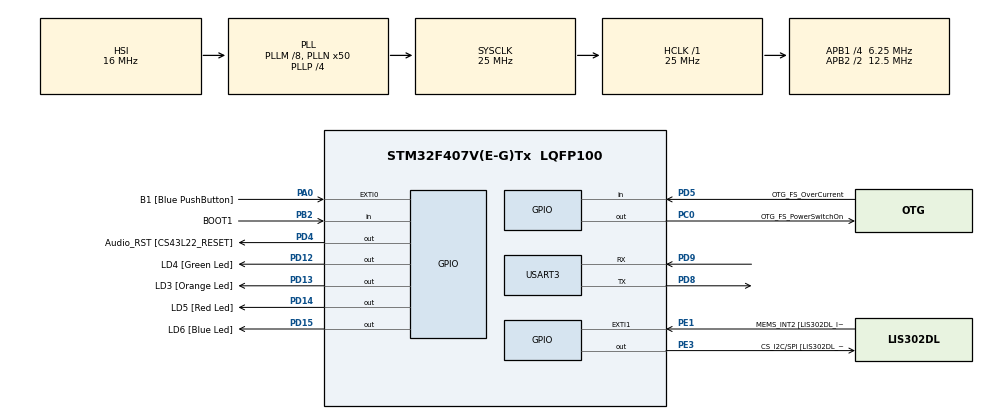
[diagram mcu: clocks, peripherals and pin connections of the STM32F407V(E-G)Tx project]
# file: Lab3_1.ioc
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FREERTOS.BinarySemaphores01=binarySemLED,Dynamic,NULL,Available
FREERTOS.CountingSemaphores01=CountingSemLed,16,Dynamic,NULL,0
FREERTOS.Mutexes01=LedMutex,Dynamic,NULL,Available
FREERTOS.Queues01=queueLED,16,uint16_t,0,Dynamic,NULL,NULL
FREERTOS.Tasks01=defaultTask,24,128,StartDefaultTask,Default,NULL,Dynamic,NULL,NULL;threadLED,8,128,StartTask02,Default,NULL,Dynamic,NULL,NULL
FREERTOS.configUSE_NEWLIB_REENTRANT=1
Mcu.Family=STM32F4
Mcu.Name=STM32F407V(E-G)Tx
Mcu.Package=LQFP100
NVIC.EXTI0_IRQn=true\:5\:0\:false\:false\:true\:true\:true\:true\:true
NVIC.PriorityGroup=NVIC_PRIORITYGROUP_4
NVIC.TIM1_UP_TIM10_IRQn=true\:15\:0\:false\:false\:true\:false\:false\:true\:true
NVIC.TimeBase=TIM1_UP_TIM10_IRQn
NVIC.TimeBaseIP=TIM1
PA0-WKUP.GPIO_Label=B1 [Blue PushButton]
PA0-WKUP.GPIO_ModeDefaultEXTI=GPIO_MODE_IT_FALLING
PA0-WKUP.Signal=GPXTI0
PA10.GPIO_Label=OTG_FS_ID
PA10.GPIO_Mode=GPIO_MODE_AF_PP
PA10.GPIO_PuPd=GPIO_NOPULL
PA10.GPIO_Speed=GPIO_SPEED_FREQ_LOW
PA10.Signal=USB_OTG_FS_ID
PA11.GPIO_Label=OTG_FS_DM
PA11.GPIO_Mode=GPIO_MODE_AF_PP
PA11.GPIO_PuPd=GPIO_NOPULL
PA11.GPIO_Speed=GPIO_SPEED_FREQ_LOW
PA11.Signal=USB_OTG_FS_DM
PA12.GPIO_Label=OTG_FS_DP
PA12.GPIO_Mode=GPIO_MODE_AF_PP
PA12.GPIO_PuPd=GPIO_NOPULL
PA12.GPIO_Speed=GPIO_SPEED_FREQ_LOW
PA12.Signal=USB_OTG_FS_DP
PA13.GPIO_Label=SWDIO
PA13.Signal=SYS_JTMS-SWDIO
PA14.GPIO_Label=SWCLK
PA14.Signal=SYS_JTCK-SWCLK
PA4.GPIO_Label=I2S3_WS [CS43L22_LRCK]
PA4.GPIO_Mode=GPIO_MODE_AF_PP
PA4.GPIO_PuPd=GPIO_NOPULL
PA4.GPIO_Speed=GPIO_SPEED_FREQ_LOW
PA4.Signal=I2S3_WS
PA5.GPIO_Label=SPI1_SCK [LIS302DL_SCL/SPC]
PA5.GPIO_Mode=GPIO_MODE_AF_PP
PA5.GPIO_PuPd=GPIO_NOPULL
PA5.GPIO_Speed=GPIO_SPEED_FREQ_LOW
PA5.Signal=SPI1_SCK
PA6.GPIO_Label=SPI1_MISO [LIS302DL_SDO]
PA6.GPIO_Mode=GPIO_MODE_AF_PP
PA6.GPIO_PuPd=GPIO_NOPULL
PA6.GPIO_Speed=GPIO_SPEED_FREQ_LOW
PA6.Signal=SPI1_MISO
PA7.GPIO_Label=SPI1_MOSI [LIS302DL_SDA/SDI/SDO]
PA7.GPIO_Mode=GPIO_MODE_AF_PP
PA7.GPIO_PuPd=GPIO_NOPULL
PA7.GPIO_Speed=GPIO_SPEED_FREQ_LOW
PA7.Signal=SPI1_MOSI
PA9.GPIO_Label=VBUS_FS
PA9.GPIO_Mode=GPIO_MODE_INPUT
PA9.GPIO_PuPd=GPIO_NOPULL
PA9.Signal=USB_OTG_FS_VBUS
PB10.GPIO_Label=CLK_IN [MP45DT02_CLK]
PB10.GPIO_Mode=GPIO_MODE_AF_PP
PB10.GPIO_PuPd=GPIO_NOPULL
PB10.GPIO_Speed=GPIO_SPEED_FREQ_LOW
PB10.Signal=I2S2_CK
PB2.GPIO_Label=BOOT1
PB2.GPIO_Mode=GPIO_MODE_INPUT
PB2.GPIO_PuPd=GPIO_NOPULL
PB2.Signal=GPIO_Input
PB3.GPIO_Label=SWO
PB3.Signal=SYS_JTDO-SWO
PB6.GPIO_Label=Audio_SCL [CS43L22_SCL]
PB6.GPIO_Mode=GPIO_MODE_AF_OD
PB6.GPIO_PuPd=GPIO_NOPULL
PB6.GPIO_Speed=GPIO_SPEED_FREQ_LOW
PB6.Signal=I2C1_SCL
PB9.GPIO_Label=Audio_SDA [CS43L22_SDA]
PB9.GPIO_Mode=GPIO_MODE_AF_OD
PB9.GPIO_PuPd=GPIO_NOPULL
PB9.GPIO_Speed=GPIO_SPEED_FREQ_LOW
PB9.Signal=I2C1_SDA
PC0.GPIO_Label=OTG_FS_PowerSwitchOn
PC0.GPIO_PuPd=GPIO_NOPULL
PC0.GPIO_Speed=GPIO_SPEED_FREQ_LOW
PC0.PinState=GPIO_PIN_SET
PC0.Signal=GPIO_Output
PC10.GPIO_Label=I2S3_SCK [CS43L22_SCLK]
PC10.GPIO_Mode=GPIO_MODE_AF_PP
PC10.GPIO_PuPd=GPIO_NOPULL
PC10.GPIO_Speed=GPIO_SPEED_FREQ_LOW
PC10.Signal=I2S3_CK
PC12.GPIO_Label=I2S3_SD [CS43L22_SDIN]
PC12.GPIO_Mode=GPIO_MODE_AF_PP
PC12.GPIO_PuPd=GPIO_NOPULL
PC12.GPIO_Speed=GPIO_SPEED_FREQ_LOW
PC12.Signal=I2S3_SD
PC14-OSC32_IN.GPIO_Label=PC14-OSC32_IN
PC14-OSC32_IN.Signal=RCC_OSC32_IN
PC15-OSC32_OUT.GPIO_Label=PC15-OSC32_OUT
PC15-OSC32_OUT.Signal=RCC_OSC32_OUT
PC3.GPIO_Label=PDM_OUT [MP45DT02_DOUT]
PC3.GPIO_Mode=GPIO_MODE_AF_PP
PC3.GPIO_PuPd=GPIO_NOPULL
PC3.GPIO_Speed=GPIO_SPEED_FREQ_LOW
PC3.Signal=I2S2_SD
PC7.GPIO_Label=I2S3_MCK [CS43L22_MCLK]
PC7.GPIO_Mode=GPIO_MODE_AF_PP
PC7.GPIO_PuPd=GPIO_NOPULL
PC7.GPIO_Speed=GPIO_SPEED_FREQ_LOW
PC7.Signal=I2S3_MCK
PD12.GPIO_Label=LD4 [Green Led]
PD12.GPIO_PuPd=GPIO_NOPULL
PD12.GPIO_Speed=GPIO_SPEED_FREQ_LOW
PD12.Signal=GPIO_Output
PD13.GPIO_Label=LD3 [Orange Led]
PD13.GPIO_PuPd=GPIO_NOPULL
PD13.GPIO_Speed=GPIO_SPEED_FREQ_LOW
PD13.Signal=GPIO_Output
PD14.GPIO_Label=LD5 [Red Led]
PD14.GPIO_PuPd=GPIO_NOPULL
PD14.GPIO_Speed=GPIO_SPEED_FREQ_LOW
PD14.Signal=GPIO_Output
PD15.GPIO_Label=LD6 [Blue Led]
PD15.GPIO_PuPd=GPIO_NOPULL
PD15.GPIO_Speed=GPIO_SPEED_FREQ_LOW
PD15.Signal=GPIO_Output
PD4.GPIO_Label=Audio_RST [CS43L22_RESET]
PD4.GPIO_PuPd=GPIO_NOPULL
PD4.GPIO_Speed=GPIO_SPEED_FREQ_LOW
PD4.Signal=GPIO_Output
PD5.GPIO_Label=OTG_FS_OverCurrent
PD5.GPIO_Mode=GPIO_MODE_INPUT
PD5.GPIO_PuPd=GPIO_NOPULL
PD5.Signal=GPIO_Input
PD8.Mode=Asynchronous
PD8.Signal=USART3_TX
PD9.Mode=Asynchronous
PD9.Signal=USART3_RX
PE1.GPIO_Label=MEMS_INT2 [LIS302DL_INT2]
PE1.GPIO_ModeDefaultEXTI=GPIO_MODE_EVT_RISING
PE1.GPIO_PuPd=GPIO_NOPULL
PE1.Signal=GPXTI1
PE3.GPIO_Label=CS_I2C/SPI [LIS302DL_CS_I2C/SPI]
PE3.GPIO_PuPd=GPIO_NOPULL
PE3.GPIO_Speed=GPIO_SPEED_FREQ_LOW
PE3.Signal=GPIO_Output
PH0-OSC_IN.GPIO_Label=PH0-OSC_IN
PH0-OSC_IN.Signal=RCC_OSC_IN
PH1-OSC_OUT.GPIO_Label=PH1-OSC_OUT
PH1-OSC_OUT.Signal=RCC_OSC_OUT
ProjectManager.HeapSize=0x200
ProjectManager.StackSize=0x400
ProjectManager.TargetToolchain=STM32CubeIDE
RCC.48MHZClocksFreq_Value=14285714.285714285
RCC.AHBFreq_Value=25000000
RCC.APB1CLKDivider=RCC_HCLK_DIV4
RCC.APB1Freq_Value=6250000
RCC.APB1TimFreq_Value=12500000
RCC.APB2CLKDivider=RCC_HCLK_DIV2
RCC.APB2Freq_Value=12500000
RCC.APB2TimFreq_Value=25000000
RCC.CortexFreq_Value=25000000
RCC.HCLKFreq_Value=25000000
RCC.HSE_VALUE=8000000
RCC.HSI_VALUE=16000000
RCC.LSE_VALUE=32768
RCC.PLLM=8
RCC.PLLN=50
RCC.PLLP=RCC_PLLP_DIV4
RCC.PLLQ=7
RCC.SYSCLKFreq_VALUE=25000000
RCC.SYSCLKSource=RCC_SYSCLKSOURCE_PLLCLK
RCC.VCOOutputFreq_Value=100000000
USART3.VirtualMode=VM_ASYNC
VP_FREERTOS_VS_CMSIS_V2.Mode=CMSIS_V2
VP_SYS_VS_tim1.Mode=TIM1
board=STM32F407G-DISC1

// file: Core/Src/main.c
/* USER CODE BEGIN Header */
/**
  ******************************************************************************
  * @file           : main.c
  * @brief          : Main program body
  ******************************************************************************
  * @attention
  *
  * Copyright (c) 2025 STMicroelectronics.
  * All rights reserved.
  *
  * This software is licensed under terms that can be found in the LICENSE file
  * in the root directory of this software component.
  * If no LICENSE file comes with this software, it is provided AS-IS.
  *
  ******************************************************************************
  */
/* USER CODE END Header */
#include "main.h"
#include "cmsis_os.h"

UART_HandleTypeDef huart3;

/* Definitions for defaultTask */
osThreadId_t defaultTaskHandle;
const osThreadAttr_t defaultTask_attributes = {
  .name = "defaultTask",
  .stack_size = 128 * 4,
  .priority = (osPriority_t) osPriorityNormal,
};
/* Definitions for threadLED */
osThreadId_t threadLEDHandle;
const osThreadAttr_t threadLED_attributes = {
  .name = "threadLED",
  .stack_size = 128 * 4,
  .priority = (osPriority_t) osPriorityLow,
};
/* Definitions for queueLED */
osMessageQueueId_t queueLEDHandle;
const osMessageQueueAttr_t queueLED_attributes = {
  .name = "queueLED"
};
/* Definitions for LedMutex */
osMutexId_t LedMutexHandle;
const osMutexAttr_t LedMutex_attributes = {
  .name = "LedMutex"
};
/* Definitions for binarySemLED */
osSemaphoreId_t binarySemLEDHandle;
const osSemaphoreAttr_t binarySemLED_attributes = {
  .name = "binarySemLED"
};
/* Definitions for CountingSemLed */
osSemaphoreId_t CountingSemLedHandle;
const osSemaphoreAttr_t CountingSemLed_attributes = {
  .name = "CountingSemLed"
};
/* USER CODE BEGIN PV */
uint32_t currentClick = 0;
uint32_t prevClick = 0;
/* USER CODE END PV */

void SystemClock_Config(void);
static void MX_GPIO_Init(void);
static void MX_USART3_UART_Init(void);
void StartDefaultTask(void *argument);
void StartTask02(void *argument);

int main(void)
{

  /* MCU Configuration--------------------------------------------------------*/

  /* Reset of all peripherals, Initializes the Flash interface and the Systick. */
  HAL_Init();

  /* Configure the system clock */
  SystemClock_Config();

  /* Initialize all configured peripherals */
  MX_GPIO_Init();
  MX_USART3_UART_Init();

  /* Init scheduler */
  osKernelInitialize();
  /* Create the mutex(es) */
  /* creation of LedMutex */
  LedMutexHandle = osMutexNew(&LedMutex_attributes);

  /* Create the semaphores(s) */
  /* creation of binarySemLED */
  binarySemLEDHandle = osSemaphoreNew(1, 1, &binarySemLED_attributes);

  /* creation of CountingSemLed */
  CountingSemLedHandle = osSemaphoreNew(16, 0, &CountingSemLed_attributes);

  /* Create the queue(s) */
  /* creation of queueLED */
  queueLEDHandle = osMessageQueueNew (16, sizeof(uint16_t), &queueLED_attributes);

  /* Create the thread(s) */
  /* creation of defaultTask */
  defaultTaskHandle = osThreadNew(StartDefaultTask, NULL, &defaultTask_attributes);

  /* creation of threadLED */
  threadLEDHandle = osThreadNew(StartTask02, NULL, &threadLED_attributes);

  /* Start scheduler */
  osKernelStart();

  /* We should never get here as control is now taken by the scheduler */

  /* Infinite loop */
  while (1)
  {

  }
}

void SystemClock_Config(void)
{
  RCC_OscInitTypeDef RCC_OscInitStruct = {0};
  RCC_ClkInitTypeDef RCC_ClkInitStruct = {0};

  /** Configure the main internal regulator output voltage
  */
  __HAL_RCC_PWR_CLK_ENABLE();
  __HAL_PWR_VOLTAGESCALING_CONFIG(PWR_REGULATOR_VOLTAGE_SCALE1);

  /** Initializes the RCC Oscillators according to the specified parameters
  * in the RCC_OscInitTypeDef structure.
  */
  RCC_OscInitStruct.OscillatorType = RCC_OSCILLATORTYPE_HSI;
  RCC_OscInitStruct.HSIState = RCC_HSI_ON;
  RCC_OscInitStruct.HSICalibrationValue = RCC_HSICALIBRATION_DEFAULT;
  RCC_OscInitStruct.PLL.PLLState = RCC_PLL_ON;
  RCC_OscInitStruct.PLL.PLLSource = RCC_PLLSOURCE_HSI;
  RCC_OscInitStruct.PLL.PLLM = 8;
  RCC_OscInitStruct.PLL.PLLN = 50;
  RCC_OscInitStruct.PLL.PLLP = RCC_PLLP_DIV4;
  RCC_OscInitStruct.PLL.PLLQ = 7;
  if (HAL_RCC_OscConfig(&RCC_OscInitStruct) != HAL_OK)
  {
    Error_Handler();
  }

  /** Initializes the CPU, AHB and APB buses clocks
  */
  RCC_ClkInitStruct.ClockType = RCC_CLOCKTYPE_HCLK|RCC_CLOCKTYPE_SYSCLK
                              |RCC_CLOCKTYPE_PCLK1|RCC_CLOCKTYPE_PCLK2;
  RCC_ClkInitStruct.SYSCLKSource = RCC_SYSCLKSOURCE_PLLCLK;
  RCC_ClkInitStruct.AHBCLKDivider = RCC_SYSCLK_DIV1;
  RCC_ClkInitStruct.APB1CLKDivider = RCC_HCLK_DIV4;
  RCC_ClkInitStruct.APB2CLKDivider = RCC_HCLK_DIV2;

  if (HAL_RCC_ClockConfig(&RCC_ClkInitStruct, FLASH_LATENCY_0) != HAL_OK)
  {
    Error_Handler();
  }
}

static void MX_USART3_UART_Init(void)
{

  huart3.Instance = USART3;
  huart3.Init.BaudRate = 115200;
  huart3.Init.WordLength = UART_WORDLENGTH_8B;
  huart3.Init.StopBits = UART_STOPBITS_1;
  huart3.Init.Parity = UART_PARITY_NONE;
  huart3.Init.Mode = UART_MODE_TX_RX;
  huart3.Init.HwFlowCtl = UART_HWCONTROL_NONE;
  huart3.Init.OverSampling = UART_OVERSAMPLING_16;
  if (HAL_UART_Init(&huart3) != HAL_OK)
  {
    Error_Handler();
  }

}

static void MX_GPIO_Init(void)
{
  GPIO_InitTypeDef GPIO_InitStruct = {0};

  /* GPIO Ports Clock Enable */
  __HAL_RCC_GPIOE_CLK_ENABLE();
  __HAL_RCC_GPIOC_CLK_ENABLE();
  __HAL_RCC_GPIOH_CLK_ENABLE();
  __HAL_RCC_GPIOA_CLK_ENABLE();
  __HAL_RCC_GPIOB_CLK_ENABLE();
  __HAL_RCC_GPIOD_CLK_ENABLE();

  /*Configure GPIO pin Output Level */
  HAL_GPIO_WritePin(CS_I2C_SPI_GPIO_Port, CS_I2C_SPI_Pin, GPIO_PIN_RESET);

  /*Configure GPIO pin Output Level */
  HAL_GPIO_WritePin(OTG_FS_PowerSwitchOn_GPIO_Port, OTG_FS_PowerSwitchOn_Pin, GPIO_PIN_SET);

  /*Configure GPIO pin Output Level */
  HAL_GPIO_WritePin(GPIOD, LD4_Pin|LD3_Pin|LD5_Pin|LD6_Pin
                          |Audio_RST_Pin, GPIO_PIN_RESET);

  /*Configure GPIO pin : CS_I2C_SPI_Pin */
  GPIO_InitStruct.Pin = CS_I2C_SPI_Pin;
  GPIO_InitStruct.Mode = GPIO_MODE_OUTPUT_PP;
  GPIO_InitStruct.Pull = GPIO_NOPULL;
  GPIO_InitStruct.Speed = GPIO_SPEED_FREQ_LOW;
  HAL_GPIO_Init(CS_I2C_SPI_GPIO_Port, &GPIO_InitStruct);

  /*Configure GPIO pin : OTG_FS_PowerSwitchOn_Pin */
  GPIO_InitStruct.Pin = OTG_FS_PowerSwitchOn_Pin;
  GPIO_InitStruct.Mode = GPIO_MODE_OUTPUT_PP;
  GPIO_InitStruct.Pull = GPIO_NOPULL;
  GPIO_InitStruct.Speed = GPIO_SPEED_FREQ_LOW;
  HAL_GPIO_Init(OTG_FS_PowerSwitchOn_GPIO_Port, &GPIO_InitStruct);

  /*Configure GPIO pin : PDM_OUT_Pin */
  GPIO_InitStruct.Pin = PDM_OUT_Pin;
  GPIO_InitStruct.Mode = GPIO_MODE_AF_PP;
  GPIO_InitStruct.Pull = GPIO_NOPULL;
  GPIO_InitStruct.Speed = GPIO_SPEED_FREQ_LOW;
  GPIO_InitStruct.Alternate = GPIO_AF5_SPI2;
  HAL_GPIO_Init(PDM_OUT_GPIO_Port, &GPIO_InitStruct);

  /*Configure GPIO pin : B1_Pin */
  GPIO_InitStruct.Pin = B1_Pin;
  GPIO_InitStruct.Mode = GPIO_MODE_IT_FALLING;
  GPIO_InitStruct.Pull = GPIO_NOPULL;
  HAL_GPIO_Init(B1_GPIO_Port, &GPIO_InitStruct);

  /*Configure GPIO pin : I2S3_WS_Pin */
  GPIO_InitStruct.Pin = I2S3_WS_Pin;
  GPIO_InitStruct.Mode = GPIO_MODE_AF_PP;
  GPIO_InitStruct.Pull = GPIO_NOPULL;
  GPIO_InitStruct.Speed = GPIO_SPEED_FREQ_LOW;
  GPIO_InitStruct.Alternate = GPIO_AF6_SPI3;
  HAL_GPIO_Init(I2S3_WS_GPIO_Port, &GPIO_InitStruct);

  /*Configure GPIO pins : SPI1_SCK_Pin SPI1_MISO_Pin SPI1_MOSI_Pin */
  GPIO_InitStruct.Pin = SPI1_SCK_Pin|SPI1_MISO_Pin|SPI1_MOSI_Pin;
  GPIO_InitStruct.Mode = GPIO_MODE_AF_PP;
  GPIO_InitStruct.Pull = GPIO_NOPULL;
  GPIO_InitStruct.Speed = GPIO_SPEED_FREQ_LOW;
  GPIO_InitStruct.Alternate = GPIO_AF5_SPI1;
  HAL_GPIO_Init(GPIOA, &GPIO_InitStruct);

  /*Configure GPIO pin : BOOT1_Pin */
  GPIO_InitStruct.Pin = BOOT1_Pin;
  GPIO_InitStruct.Mode = GPIO_MODE_INPUT;
  GPIO_InitStruct.Pull = GPIO_NOPULL;
  HAL_GPIO_Init(BOOT1_GPIO_Port, &GPIO_InitStruct);

  /*Configure GPIO pin : CLK_IN_Pin */
  GPIO_InitStruct.Pin = CLK_IN_Pin;
  GPIO_InitStruct.Mode = GPIO_MODE_AF_PP;
  GPIO_InitStruct.Pull = GPIO_NOPULL;
  GPIO_InitStruct.Speed = GPIO_SPEED_FREQ_LOW;
  GPIO_InitStruct.Alternate = GPIO_AF5_SPI2;
  HAL_GPIO_Init(CLK_IN_GPIO_Port, &GPIO_InitStruct);

  /*Configure GPIO pins : LD4_Pin LD3_Pin LD5_Pin LD6_Pin
                           Audio_RST_Pin */
  GPIO_InitStruct.Pin = LD4_Pin|LD3_Pin|LD5_Pin|LD6_Pin
                          |Audio_RST_Pin;
  GPIO_InitStruct.Mode = GPIO_MODE_OUTPUT_PP;
  GPIO_InitStruct.Pull = GPIO_NOPULL;
  GPIO_InitStruct.Speed = GPIO_SPEED_FREQ_LOW;
  HAL_GPIO_Init(GPIOD, &GPIO_InitStruct);

  /*Configure GPIO pins : I2S3_MCK_Pin I2S3_SCK_Pin I2S3_SD_Pin */
  GPIO_InitStruct.Pin = I2S3_MCK_Pin|I2S3_SCK_Pin|I2S3_SD_Pin;
  GPIO_InitStruct.Mode = GPIO_MODE_AF_PP;
  GPIO_InitStruct.Pull = GPIO_NOPULL;
  GPIO_InitStruct.Speed = GPIO_SPEED_FREQ_LOW;
  GPIO_InitStruct.Alternate = GPIO_AF6_SPI3;
  HAL_GPIO_Init(GPIOC, &GPIO_InitStruct);

  /*Configure GPIO pin : VBUS_FS_Pin */
  GPIO_InitStruct.Pin = VBUS_FS_Pin;
  GPIO_InitStruct.Mode = GPIO_MODE_INPUT;
  GPIO_InitStruct.Pull = GPIO_NOPULL;
  HAL_GPIO_Init(VBUS_FS_GPIO_Port, &GPIO_InitStruct);

  /*Configure GPIO pins : OTG_FS_ID_Pin OTG_FS_DM_Pin OTG_FS_DP_Pin */
  GPIO_InitStruct.Pin = OTG_FS_ID_Pin|OTG_FS_DM_Pin|OTG_FS_DP_Pin;
  GPIO_InitStruct.Mode = GPIO_MODE_AF_PP;
  GPIO_InitStruct.Pull = GPIO_NOPULL;
  GPIO_InitStruct.Speed = GPIO_SPEED_FREQ_LOW;
  GPIO_InitStruct.Alternate = GPIO_AF10_OTG_FS;
  HAL_GPIO_Init(GPIOA, &GPIO_InitStruct);

  /*Configure GPIO pin : OTG_FS_OverCurrent_Pin */
  GPIO_InitStruct.Pin = OTG_FS_OverCurrent_Pin;
  GPIO_InitStruct.Mode = GPIO_MODE_INPUT;
  GPIO_InitStruct.Pull = GPIO_NOPULL;
  HAL_GPIO_Init(OTG_FS_OverCurrent_GPIO_Port, &GPIO_InitStruct);

  /*Configure GPIO pins : Audio_SCL_Pin Audio_SDA_Pin */
  GPIO_InitStruct.Pin = Audio_SCL_Pin|Audio_SDA_Pin;
  GPIO_InitStruct.Mode = GPIO_MODE_AF_OD;
  GPIO_InitStruct.Pull = GPIO_NOPULL;
  GPIO_InitStruct.Speed = GPIO_SPEED_FREQ_LOW;
  GPIO_InitStruct.Alternate = GPIO_AF4_I2C1;
  HAL_GPIO_Init(GPIOB, &GPIO_InitStruct);

  /*Configure GPIO pin : MEMS_INT2_Pin */
  GPIO_InitStruct.Pin = MEMS_INT2_Pin;
  GPIO_InitStruct.Mode = GPIO_MODE_EVT_RISING;
  GPIO_InitStruct.Pull = GPIO_NOPULL;
  HAL_GPIO_Init(MEMS_INT2_GPIO_Port, &GPIO_InitStruct);

  /* EXTI interrupt init*/
  HAL_NVIC_SetPriority(EXTI0_IRQn, 5, 0);
  HAL_NVIC_EnableIRQ(EXTI0_IRQn);

}

/* USER CODE BEGIN 4 */
void blinkLED(void)
{
	osMutexAcquire(LedMutexHandle, osWaitForever);
	HAL_GPIO_WritePin(GPIOD, GPIO_PIN_12, GPIO_PIN_SET);
	HAL_GPIO_WritePin(GPIOD, GPIO_PIN_13, GPIO_PIN_SET);
	HAL_GPIO_WritePin(GPIOD, GPIO_PIN_14, GPIO_PIN_SET);
	HAL_GPIO_WritePin(GPIOD, GPIO_PIN_15, GPIO_PIN_SET);
	osDelay(500);
	HAL_GPIO_WritePin(GPIOD, GPIO_PIN_12, GPIO_PIN_RESET);
	HAL_GPIO_WritePin(GPIOD, GPIO_PIN_13, GPIO_PIN_RESET);
	HAL_GPIO_WritePin(GPIOD, GPIO_PIN_14, GPIO_PIN_RESET);
	HAL_GPIO_WritePin(GPIOD, GPIO_PIN_15, GPIO_PIN_RESET);
	osDelay(500);
	osMutexRelease(LedMutexHandle);
}
/*
void HAL_GPIO_EXTI_Callback(uint16_t GPIO_Pin)
{
	currentClick = HAL_GetTick();
	if (GPIO_Pin == GPIO_PIN_0 && (currentClick - prevClick > 100))
	{
		osSemaphoreRelease(binarySemLEDHandle);
		prevClick = currentClick;
	}
}
*/
void HAL_GPIO_EXTI_Callback(uint16_t GPIO_Pin)
{
	currentClick = HAL_GetTick();
	if (GPIO_Pin == GPIO_PIN_0 && (currentClick - prevClick > 100))
	{
		osSemaphoreRelease(CountingSemLedHandle);
		prevClick = currentClick;
	}
}

/* USER CODE END 4 */

void StartDefaultTask(void *argument)
{
  /* USER CODE BEGIN 5 */
	  /* Infinite loop */
	/*
	for(;;)
	  {
		// osSemaphoreAcquire(binarySemLEDHandle, osWaitForever);
		osSemaphoreAcquire(CountingSemLedHandle, osWaitForever);
		blinkLED();
	  }
	*/

	for(;;)
  {
	  static uint8_t button_pressed = 0;
	  	  	  if((HAL_GPIO_ReadPin(GPIOA, GPIO_PIN_0) == GPIO_PIN_SET))
	  	      {
	  	      	osDelay(10);
	  	      	if(button_pressed == 0)
	  	      	{
	  	      		button_pressed = 1;
	  	      		// blinkLED();
	  	      	uint16_t msg = 1;
	  	      	osMessageQueuePut(queueLEDHandle, (const void *)&msg, 0, 1000U);

	  	      	}
	  	      }
	  	      else
	  	      {
	  	    	osDelay(10);
	  	      	button_pressed = 0;
	  	      }
	  	  osDelay(5);

  }

  /* USER CODE END 5 */
}

void StartTask02(void *argument)
{
  /* USER CODE BEGIN StartTask02 */
  /* Infinite loop */
	osStatus_t status;
		uint16_t msg = 0;
	  /* Infinite loop */
	  for(;;)
	  {
		  status = osMessageQueueGet(queueLEDHandle, &msg, 0, osWaitForever);
		  if ((status == osOK) && (msg == 1))
		  {
			  blinkLED();
		  }
	  }

  /* USER CODE END StartTask02 */
}

void HAL_TIM_PeriodElapsedCallback(TIM_HandleTypeDef *htim)
{
  if (htim->Instance == TIM1)
  {
    HAL_IncTick();
  }
}

void Error_Handler(void)
{
  __disable_irq();
  while (1)
  {
  }
}
